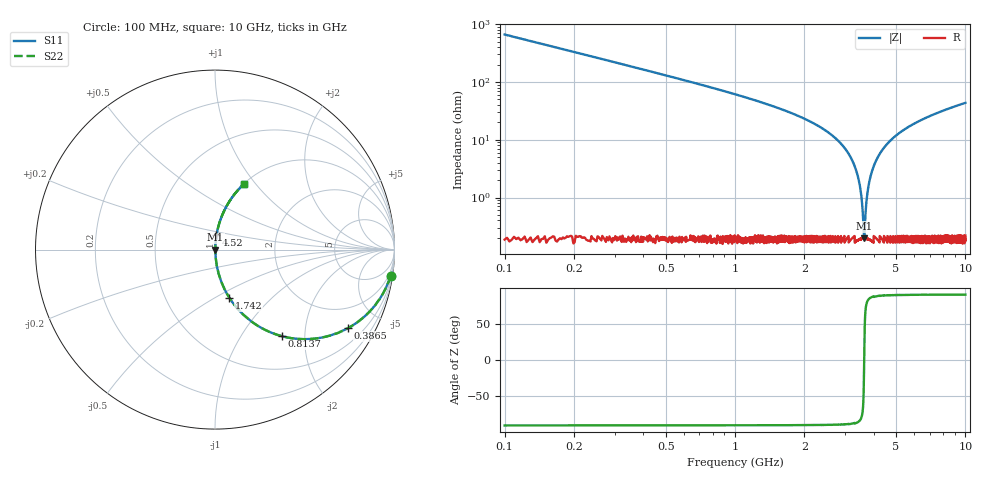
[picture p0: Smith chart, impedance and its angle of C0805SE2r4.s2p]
! AVX Thin Film Operation		Date: April 2012
! Description: Accu-P® Series, Thin Film, SMD, RF Capacitor
! Part Number: 08051J2R4QBTTR
!	100	MHz	-	10.05	GHz
!	Serial	Measurements
#	MHZ	S	MA	R	50
!	S11	S21	S12	S22
!	dB	Phase	dB	Phase	dB	Phase	dB	Phase
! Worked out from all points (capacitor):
!   4010 points, 100 MHz to 10 GHz, reference 50 ohm
!   read as one part in series: C = 2.4 pF near 149.4 MHz
!   lowest |Z| = 195 mohm at 3.636 GHz (marker M1)
!   series resonance near 3.636 GHz, so ESL is about 800 pH
!   S11 on the Smith chart (normalised r, x): 100 MHz: 1, -13; 386.5 MHz: 1.00, -3.39; 813.7 MHz: 1.00, -1.55; 1.742 GHz: 1.00, -0.59; 4.52 GHz: 1.00, +0.16; 10 GHz: 1.00, +0.87
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100  0.989 -8.6  0.149 81.4  0.149 81.4  0.989 -8.6
233.35  0.943 -19.5  0.333 70.5  0.333 70.5  0.943 -19.5
386.455  0.861 -30.5  0.508 59.4  0.508 59.4  0.861 -30.5
813.669  0.611 -52.2  0.79 37.7  0.79 37.7  0.611 -52.2
1213.719  0.436 -63.9  0.898 25.9  0.898 25.9  0.436 -63.9
1742.18  0.281 -73.3  0.958 16.3  0.958 16.3  0.281 -73.3
1752.058  0.279 -73.4  0.959 16.2  0.959 16.2  0.279 -73.4
2868.246  0.087 -83.8  0.994 5.0  0.994 5.0  0.087 -83.8
3186.805  0.048 -85.0  0.997 2.8  0.997 2.8  0.048 -85.0
3401.646  0.024 -84.1  0.998 1.4  0.998 1.4  0.024 -84.1
3515.241  0.012 -80.5  0.998 0.7  0.998 0.7  0.012 -80.5
3606.61  0.00354 -57.3  0.998 0.2  0.998 0.2  0.00354 -57.3
3636.243  0.0019 -0.2  0.998 0.0  0.998 0.0  0.0019 -0.2
3665.877  0.00351 57.0  0.998 -0.2  0.998 -0.2  0.00351 57.0
3759.716  0.012 80.4  0.998 -0.7  0.998 -0.7  0.012 80.4
3895.535  0.025 84.2  0.998 -1.4  0.998 -1.4  0.025 84.2
4135.071  0.047 85.0  0.997 -2.7  0.997 -2.7  0.047 85.0
4520.304  0.08 84.1  0.995 -4.6  0.995 -4.6  0.08 84.1
5051.235  0.121 82.2  0.991 -6.9  0.991 -6.9  0.121 82.2
6700.823  0.23 76.2  0.971 -13.3  0.971 -13.3  0.23 76.2
8350.412  0.321 71.0  0.945 -18.7  0.945 -18.7  0.321 71.0
10000  0.398 66.3  0.915 -23.5  0.915 -23.5  0.398 66.3
